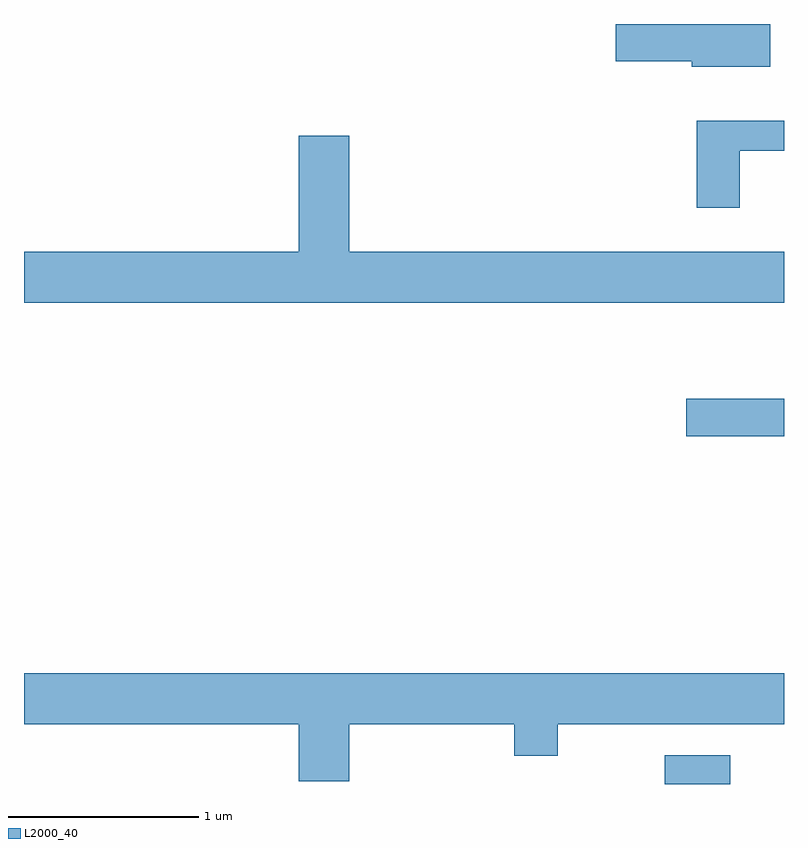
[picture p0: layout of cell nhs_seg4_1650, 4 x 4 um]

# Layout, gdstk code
import gdstk
lib = gdstk.Library(unit=1e-6, precision=1e-09)
def R(c, l, rs):  # rectangles x0, y0, x1, y1
    for r in rs: c.add(gdstk.rectangle(r[:2], r[2:], *l))
def P(c, l, *ps):  # polygons
    for p in ps: c.add(gdstk.Polygon(p, *l))
L2000_40 = (2000, 40)

nhs_seg4_1650 = lib.new_cell('nhs_seg4_1650')
R(nhs_seg4_1650, L2000_40, [(236.983,1289.982,237.329,1290.134), (237.096,1291.811,237.611,1292.009)])
P(nhs_seg4_1650, L2000_40, [(237.539,1293.982),(236.726,1293.982),(236.726,1293.786),(237.126,1293.786),(237.126,1293.756),(237.539,1293.756)],
  [(237.379,1293.316),(237.611,1293.316),(237.611,1293.474),(237.151,1293.474),(237.151,1293.016),(237.379,1293.016)],
  [(237.611,1292.784),(235.324,1292.784),(235.324,1293.394),(235.056,1293.394),(235.056,1292.784),(233.611,1292.784),(233.611,1292.516),(237.611,1292.516)],
  [(235.324,1290.296),(236.191,1290.296),(236.191,1290.131),(236.419,1290.131),(236.419,1290.296),(237.611,1290.296),(237.611,1290.564),(233.611,1290.564),(233.611,1290.296),(235.056,1290.296),(235.056,1289.996),(235.324,1289.996)])

lib.write_gds('nhs_seg4_1650.gds')
